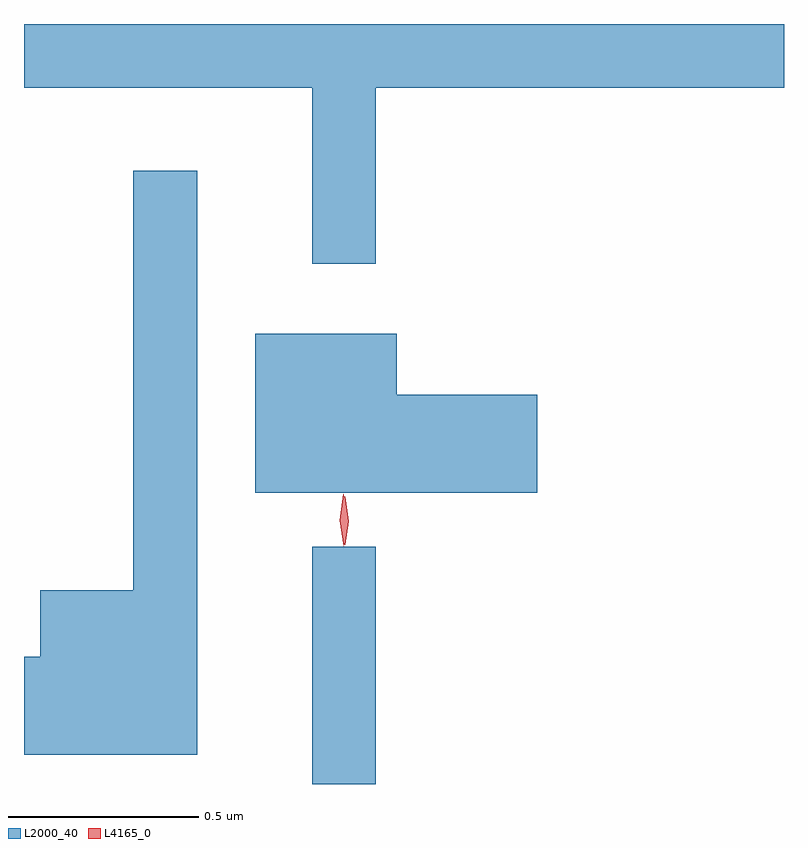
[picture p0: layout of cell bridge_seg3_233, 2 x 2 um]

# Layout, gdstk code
import gdstk
lib = gdstk.Library(unit=1e-6, precision=1e-09)
def R(c, l, rs):  # rectangles x0, y0, x1, y1
    for r in rs: c.add(gdstk.rectangle(r[:2], r[2:], *l))
def P(c, l, *ps):  # polygons
    for p in ps: c.add(gdstk.Polygon(p, *l))
L2000_40 = (2000, 40)
L4165_0 = (4165, 0)

bridge_seg3_233 = lib.new_cell('bridge_seg3_233')
R(bridge_seg3_233, L2000_40, [(967.481,1137.504,967.649,1138.128)])
P(bridge_seg3_233, L2000_40, [(967.649,1139.336),(968.723,1139.336),(968.723,1139.504),(966.723,1139.504),(966.723,1139.336),(967.481,1139.336),(967.481,1138.873),(967.649,1138.873)],
  [(967.179,1139.118),(967.011,1139.118),(967.011,1138.014),(966.766,1138.014),(966.766,1137.839),(966.723,1137.839),(966.723,1137.581),(967.179,1137.581)],
  [(968.074,1138.529),(967.704,1138.529),(967.704,1138.689),(967.331,1138.689),(967.331,1138.271),(968.074,1138.271)])
P(bridge_seg3_233, L4165_0, [(967.567,1138.133),(967.558,1138.196),(967.567,1138.26),(967.568,1138.26),(967.568,1138.26),(967.578,1138.196),(967.568,1138.133),(967.568,1138.133)],
  [(967.564,1138.13),(967.554,1138.198),(967.563,1138.266),(967.564,1138.266),(967.564,1138.266),(967.574,1138.198),(967.565,1138.13),(967.565,1138.13)])

lib.write_gds('bridge_seg3_233.gds')
